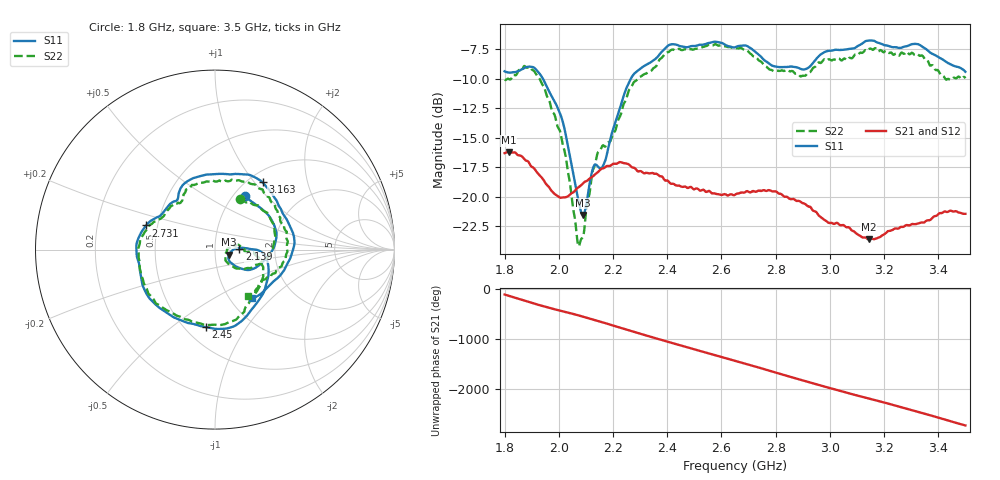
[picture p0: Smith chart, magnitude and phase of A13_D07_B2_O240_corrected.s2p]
! Created with skrf 1.9.0 (http://scikit-rf.org).
# Hz S RI R 50.0
!freq ReS11 ImS11 ReS21 ImS21 ReS12 ImS12 ReS22 ImS22
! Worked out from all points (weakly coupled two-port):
!   1601 points, 1.8 GHz to 3.5 GHz, reference 50 ohm
!   highest |S21| = -16.22 dB at 1.815 GHz (marker M1); lowest = -23.6 dB at 3.143 GHz (marker M2)
!   lowest |S11| = -21.6 dB at 2.09 GHz (marker M3), VSWR 1.18, Z = 58.4 - j3.37 ohm
!   |S11| at or under -10 dB: 1.942 GHz to 2.265 GHz (323.3 MHz wide, 15.4 % of centre)
!   |S22| runs from -24.2 to -7.0 dB; largest |S21 - S12| = 0.003
!   S11 on the Smith chart (normalised r, x): 1.8 GHz: 1.13, +0.76; 2.139 GHz: 1.32, +0.01; 2.45 GHz: 0.63, -0.67; 2.731 GHz: 0.43, +0.14; 3.163 GHz: 1.16, +1.10; 3.5 GHz: 1.26, -0.77
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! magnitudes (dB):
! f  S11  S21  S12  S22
! 1.8 GHz  -9.4  -16.3  -16.3  -10.1
! 1.815 GHz  -9.5  -16.2  -16.2  -10.0
! 1.881 GHz  -9.0  -17.0  -17.0  -9.0
! 1.942 GHz  -10.0  -18.5  -18.5  -10.6
! 2.013 GHz  -13.5  -20.1  -20.1  -15.3
! 2.069 GHz  -19.9  -19.3  -19.3  -23.8
! 2.084 GHz  -21.4  -19.0  -19.0  -23.6
! 2.09 GHz  -21.6  -18.9  -18.9  -23.3
! 2.139 GHz  -17.3  -18.0  -18.0  -16.7
! 2.168 GHz  -17.2  -17.6  -17.6  -15.7
! 2.266 GHz  -9.9  -17.4  -17.4  -10.7
! 2.367 GHz  -8.0  -18.2  -18.1  -8.5
! 2.45 GHz  -7.2  -19.1  -19.1  -7.5
! 2.65 GHz  -7.3  -19.8  -19.8  -7.4
! 2.731 GHz  -7.8  -19.6  -19.6  -8.2
! 2.934 GHz  -8.8  -21.1  -21.0  -9.2
! 3.143 GHz  -6.7  -23.6  -23.5  -7.5
! 3.163 GHz  -6.8  -23.6  -23.6  -7.4
! 3.217 GHz  -7.2  -22.9  -22.9  -7.8
! 3.326 GHz  -7.0  -22.3  -22.2  -7.9
! 3.43 GHz  -8.6  -21.3  -21.3  -10.1
! 3.5 GHz  -9.4  -21.5  -21.4  -9.9
